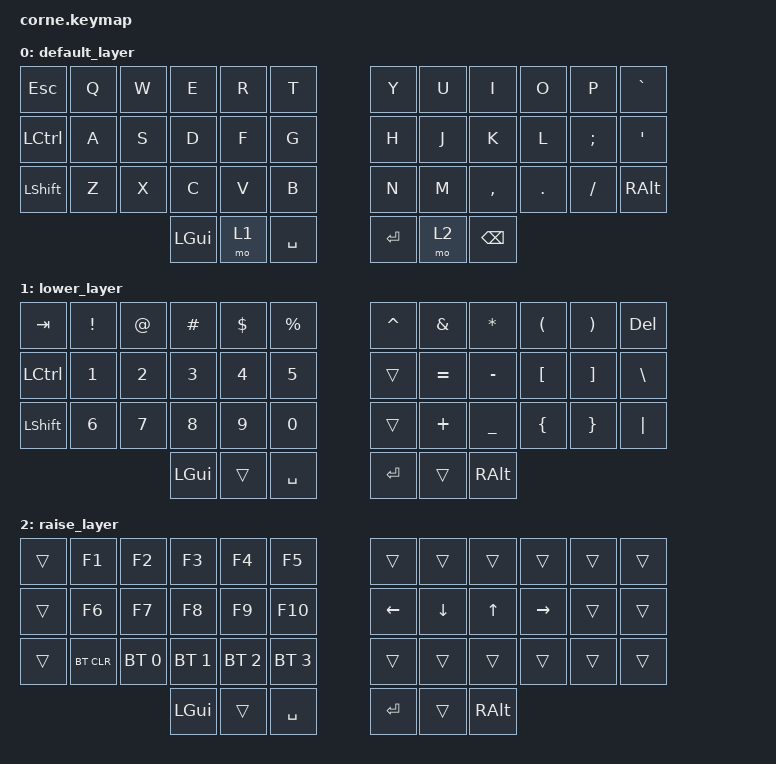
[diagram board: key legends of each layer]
/*
 * Copyright (c) 2020 The ZMK Contributors
 *
 * SPDX-License-Identifier: MIT
 */

#include <behaviors.dtsi>
#include <dt-bindings/zmk/bt.h>
#include <dt-bindings/zmk/keys.h>

/ {
    keymap {
        compatible = "zmk,keymap";

        default_layer {
            // -----------------------------------------------------------------------------------------
            // |  ESC |  Q  |  W  |  E  |  R  |  T  |   |  Y  |  U   |  I  |  O  |  P  |  `   |
            // | CTRL |  A  |  S  |  D  |  F  |  G  |   |  H  |  J   |  K  |  L  |  ;  |  '   |
            // | SHFT |  Z  |  X  |  C  |  V  |  B  |   |  N  |  M   |  ,  |  .  |  /  | RALT |
            //                    | GUI | LWR | SPC |   | ENT | RSE  | BSP |

            bindings = <
&kp ESC    &kp Q  &kp W  &kp E     &kp R  &kp T        &kp Y    &kp U  &kp I          &kp O    &kp P     &kp GRAVE
&kp LCTRL  &kp A  &kp S  &kp D     &kp F  &kp G        &kp H    &kp J  &kp K          &kp L    &kp SEMI  &kp SQT
&kp LSHFT  &kp Z  &kp X  &kp C     &kp V  &kp B        &kp N    &kp M  &kp COMMA      &kp DOT  &kp FSLH  &kp RIGHT_ALT
                         &kp LGUI  &mo 1  &kp SPACE    &kp RET  &mo 2  &kp BACKSPACE
            >;
        };

        lower_layer {
            // -----------------------------------------------------------------------------------------
            // |  TAB |  1  |  2  |  3  |  4  |  5  |   |  6  |  7  |  8  |  9  |  0  | BKSP |
            // | BTCLR| BT1 | BT2 | BT3 | BT4 | BT5 |   | LFT | DWN |  UP | RGT |     |      |
            // | SHFT |     |     |     |     |     |   |     |     |     |     |     |      |
            //                    | GUI |     | SPC |   | ENT |     | ALT |

            bindings = <
&kp TAB           &kp EXCL      &kp AT        &kp POUND     &kp DOLLAR    &kp PERCENT    &kp CARET  &kp AMPERSAND  &kp ASTERISK  &kp LEFT_PARENTHESIS  &kp RIGHT_PARENTHESIS  &kp DELETE
&kp LEFT_CONTROL  &kp NUMBER_1  &kp NUMBER_2  &kp NUMBER_3  &kp NUMBER_4  &kp N5         &trans     &kp EQUAL      &kp MINUS     &kp LEFT_BRACKET      &kp RIGHT_BRACKET      &kp BACKSLASH
&kp LSHFT         &kp NUMBER_6  &kp N7        &kp N8        &kp N9        &kp N0         &trans     &kp PLUS       &kp UNDER     &kp LEFT_BRACE        &kp RIGHT_BRACE        &kp PIPE
                                              &kp LGUI      &trans        &kp SPACE      &kp RET    &trans         &kp RALT
            >;
        };

        raise_layer {
            // -----------------------------------------------------------------------------------------
            // |  TAB |  !  |  @  |  #  |  $  |  %  |   |  ^  |  &  |  *  |  (  |  )  | BKSP |
            // | CTRL |     |     |     |     |     |   |     |  =  |  [  |  ]  |  \  |  -   |
            // | SHFT |     |     |     |     |     |   |  _  |  +  |  {  |  }  | "|" |  ~   |
            //                    | GUI |     | SPC |   | ENT |     | ALT |

            bindings = <
&trans  &kp F1      &kp F2        &kp F3        &kp F4        &kp F5          &trans    &trans    &trans        &trans     &trans  &trans
&trans  &kp F6      &kp F7        &kp F8        &kp F9        &kp F10         &kp LEFT  &kp DOWN  &kp UP_ARROW  &kp RIGHT  &trans  &trans
&trans  &bt BT_CLR  &bt BT_SEL 0  &bt BT_SEL 1  &bt BT_SEL 2  &bt BT_SEL 3    &trans    &trans    &trans        &trans     &trans  &trans
                                  &kp LGUI      &trans        &kp SPACE       &kp RET   &trans    &kp RALT
            >;
        };
    };
};
